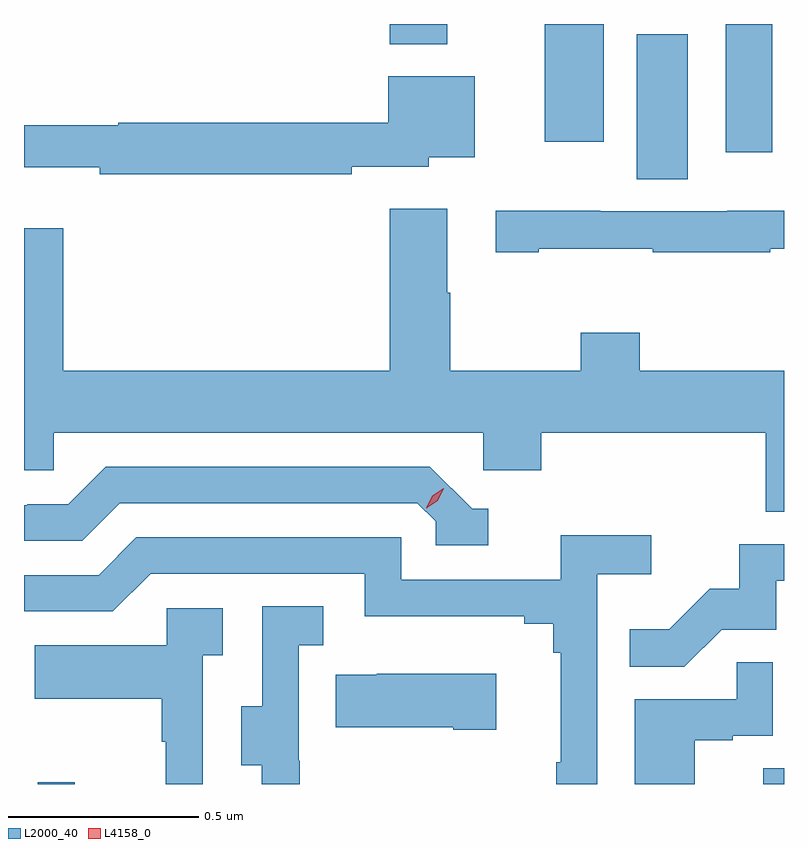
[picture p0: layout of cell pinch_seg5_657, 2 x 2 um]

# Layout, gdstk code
import gdstk
lib = gdstk.Library(unit=1e-6, precision=1e-09)
def R(c, l, rs):  # rectangles x0, y0, x1, y1
    for r in rs: c.add(gdstk.rectangle(r[:2], r[2:], *l))
def P(c, l, *ps):  # polygons
    for p in ps: c.add(gdstk.Polygon(p, *l))
L2000_40 = (2000, 40)
L4158_0 = (4158, 0)

pinch_seg5_657 = lib.new_cell('pinch_seg5_657')
R(pinch_seg5_657, L2000_40, [(1076.193,846.512,1076.291,846.517), (1078.103,846.512,1078.157,846.554), (1077.77,848.104,1077.904,848.485), (1078.004,848.175,1078.126,848.512), (1077.527,848.202,1077.682,848.512), (1077.119,848.459,1077.271,848.512)])
P(pinch_seg5_657, L2000_40, [(1077.02,848.136),(1077.222,848.136),(1077.222,848.162),(1077.343,848.162),(1077.343,848.374),(1077.116,848.374),(1077.116,848.252),(1076.405,848.252),(1076.405,848.245),(1076.157,848.245),(1076.157,848.135),(1076.356,848.135),(1076.356,848.116),(1077.02,848.116)],
  [(1078.157,847.6),(1077.777,847.6),(1077.777,847.699),(1077.622,847.699),(1077.622,847.6),(1077.279,847.6),(1077.279,847.805),(1077.271,847.805),(1077.271,848.026),(1077.119,848.026),(1077.119,847.6),(1076.26,847.6),(1076.26,847.975),(1076.157,847.975),(1076.157,847.338),(1076.235,847.338),(1076.235,847.436),(1077.366,847.436),(1077.366,847.338),(1077.518,847.338),(1077.518,847.436),(1078.109,847.436),(1078.109,847.228),(1078.157,847.228)],
  [(1077.511,847.921),(1077.811,847.921),(1077.811,847.911),(1078.121,847.911),(1078.121,847.921),(1078.157,847.921),(1078.157,848.02),(1078.008,848.02),(1078.008,848.019),(1077.674,848.019),(1077.674,848.021),(1077.399,848.021),(1077.399,847.911),(1077.511,847.911)],
  [(1077.379,847.236),(1077.336,847.236),(1077.225,847.347),(1076.372,847.347),(1076.273,847.248),(1076.166,847.248),(1076.166,847.245),(1076.157,847.245),(1076.157,847.152),(1076.31,847.152),(1076.409,847.251),(1077.192,847.251),(1077.24,847.203),(1077.24,847.14),(1077.379,847.14)],
  [(1077.666,847.064),(1077.808,847.064),(1077.808,847.166),(1077.569,847.166),(1077.569,847.05),(1077.15,847.05),(1077.15,847.161),(1076.453,847.161),(1076.354,847.062),(1076.157,847.062),(1076.157,846.966),(1076.391,846.966),(1076.49,847.065),(1077.054,847.065),(1077.054,846.953),(1077.473,846.953),(1077.473,846.934),(1077.55,846.934),(1077.55,846.857),(1077.569,846.857),(1077.569,846.569),(1077.558,846.569),(1077.558,846.512),(1077.666,846.512)],
  [(1077.993,846.918),(1078.137,846.918),(1078.137,847.047),(1078.157,847.047),(1078.157,847.143),(1078.039,847.143),(1078.039,847.026),(1077.962,847.026),(1077.855,846.919),(1077.751,846.919),(1077.751,846.82),(1077.895,846.82)],
  [(1076.882,846.573),(1076.88,846.573),(1076.88,846.877),(1076.944,846.877),(1076.944,846.98),(1076.784,846.98),(1076.784,846.717),(1076.729,846.717),(1076.729,846.562),(1076.783,846.562),(1076.783,846.512),(1076.882,846.512)],
  [(1076.628,846.851),(1076.68,846.851),(1076.68,846.975),(1076.532,846.975),(1076.532,846.877),(1076.185,846.877),(1076.185,846.737),(1076.52,846.737),(1076.52,846.623),(1076.53,846.623),(1076.53,846.512),(1076.628,846.512)],
  [(1077.922,846.627),(1078.022,846.627),(1078.022,846.639),(1078.128,846.639),(1078.128,846.833),(1078.033,846.833),(1078.033,846.735),(1077.764,846.735),(1077.764,846.512),(1077.922,846.512)],
  [(1077.4,846.802),(1077.085,846.802),(1077.085,846.799),(1076.977,846.799),(1076.977,846.662),(1077.287,846.662),(1077.287,846.655),(1077.4,846.655)])
P(pinch_seg5_657, L4158_0, [(1077.215,847.238),(1077.215,847.238),(1077.231,847.271),(1077.262,847.29),(1077.262,847.29),(1077.262,847.29),(1077.246,847.257),(1077.215,847.238)])

lib.write_gds('pinch_seg5_657.gds')
